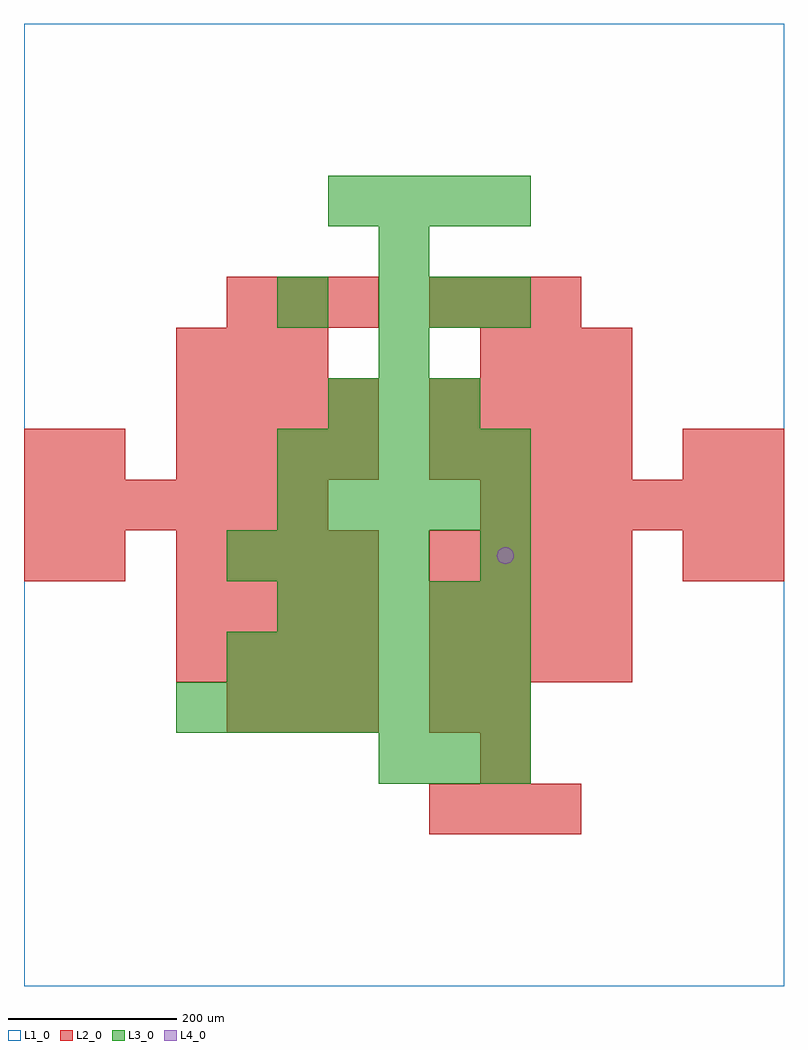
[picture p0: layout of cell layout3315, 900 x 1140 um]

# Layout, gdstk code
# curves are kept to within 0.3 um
import gdstk
lib = gdstk.Library(unit=1e-6, precision=1e-09)
def R(c, l, rs):  # rectangles x0, y0, x1, y1
    for r in rs: c.add(gdstk.rectangle(r[:2], r[2:], *l))
def A(c, l, x, y, w, h, nx, ny, dx, dy):  # array of equal rectangles
    R(c, l, [(x+i*dx, y+j*dy, x+i*dx+w, y+j*dy+h) for i in range(nx) for j in range(ny)])
def P(c, l, *ps):  # polygons
    for p in ps: c.add(gdstk.Polygon(p, *l))
L1_0 = (1, 0)
L2_0 = (2, 0)
L3_0 = (3, 0)
L4_0 = (4, 0)

layout3315 = lib.new_cell('layout3315')
R(layout3315, L1_0, [(0,0,900,1140)])
A(layout3315, L2_0, 480, 180, 60, 60, 3, 2, 60, 600)
A(layout3315, L2_0, 240, 300, 60, 60, 3, 2, 60, 480)
A(layout3315, L2_0, 180, 360, 60, 60, 4, 3, 60, 60)
A(layout3315, L2_0, 480, 360, 60, 60, 4, 3, 60, 60)
A(layout3315, L2_0, 0, 540, 60, 60, 6, 1, 60, 0)
A(layout3315, L2_0, 540, 540, 60, 60, 6, 1, 60, 0)
A(layout3315, L2_0, 180, 600, 60, 60, 4, 2, 60, 60)
A(layout3315, L2_0, 480, 600, 60, 60, 4, 2, 60, 60)
A(layout3315, L2_0, 180, 720, 60, 60, 3, 1, 60, 0)
A(layout3315, L2_0, 540, 720, 60, 60, 3, 1, 60, 0)
R(layout3315, L2_0, [(540,240,600,300), (480,300,540,360), (540,300,600,360), (0,480,60,540), (60,480,120,540), (780,480,840,540), (840,480,900,540), (0,600,60,660), (60,600,120,660), (780,600,840,660), (840,600,900,660)])
A(layout3315, L3_0, 420, 240, 60, 60, 3, 2, 60, 540)
A(layout3315, L3_0, 180, 300, 60, 60, 7, 1, 60, 0)
A(layout3315, L3_0, 240, 360, 60, 60, 6, 1, 60, 0)
A(layout3315, L3_0, 300, 420, 60, 60, 5, 2, 60, 120)
A(layout3315, L3_0, 240, 480, 60, 60, 4, 1, 60, 0)
A(layout3315, L3_0, 300, 600, 60, 60, 5, 1, 60, 0)
A(layout3315, L3_0, 360, 660, 60, 60, 3, 1, 60, 0)
A(layout3315, L3_0, 360, 900, 60, 60, 4, 1, 60, 0)
R(layout3315, L3_0, [(540,480,600,540), (420,720,480,780), (300,780,360,840), (420,840,480,900)])
P(layout3315, L4_0, [(580,510),(579.239,513.827),(577.071,517.071),(573.827,519.239),(570,520),(566.173,519.239),(562.929,517.071),(560.761,513.827),(560,510),(560.761,506.173),(562.929,502.929),(566.173,500.761),(570,500),(573.827,500.761),(577.071,502.929),(579.239,506.173)])

lib.write_gds('layout3315.gds')
